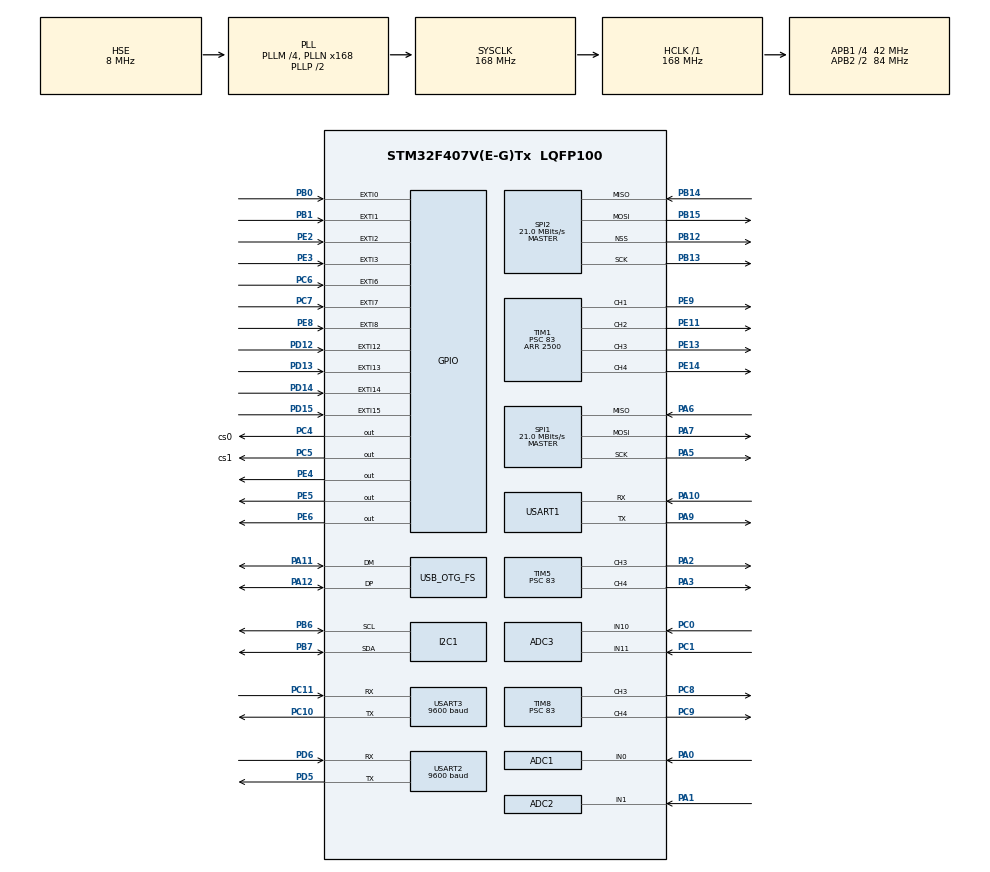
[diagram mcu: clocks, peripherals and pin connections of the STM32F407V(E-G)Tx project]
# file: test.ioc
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ADC1.Channel-0\#ChannelRegularConversion=ADC_CHANNEL_0
ADC1.ClockPrescaler=ADC_CLOCK_SYNC_PCLK_DIV4
ADC1.NbrOfConversionFlag=1
ADC1.Rank-0\#ChannelRegularConversion=1
ADC1.SamplingTime-0\#ChannelRegularConversion=ADC_SAMPLETIME_3CYCLES
ADC1.master=1
ADC2.Channel-0\#ChannelRegularConversion=ADC_CHANNEL_1
ADC2.ClockPrescaler=ADC_CLOCK_SYNC_PCLK_DIV4
ADC2.NbrOfConversionFlag=1
ADC2.Rank-0\#ChannelRegularConversion=1
ADC2.SamplingTime-0\#ChannelRegularConversion=ADC_SAMPLETIME_3CYCLES
ADC3.Channel-0\#ChannelRegularConversion=ADC_CHANNEL_10
ADC3.ClockPrescaler=ADC_CLOCK_SYNC_PCLK_DIV4
ADC3.NbrOfConversionFlag=1
ADC3.Rank-0\#ChannelRegularConversion=1
ADC3.SamplingTime-0\#ChannelRegularConversion=ADC_SAMPLETIME_3CYCLES
Dma.I2C1_RX.5.Direction=DMA_PERIPH_TO_MEMORY
Dma.I2C1_RX.5.FIFOMode=DMA_FIFOMODE_DISABLE
Dma.I2C1_RX.5.Instance=DMA1_Stream0
Dma.I2C1_RX.5.MemDataAlignment=DMA_MDATAALIGN_BYTE
Dma.I2C1_RX.5.MemInc=DMA_MINC_ENABLE
Dma.I2C1_RX.5.Mode=DMA_NORMAL
Dma.I2C1_RX.5.PeriphDataAlignment=DMA_PDATAALIGN_BYTE
Dma.I2C1_RX.5.PeriphInc=DMA_PINC_DISABLE
Dma.I2C1_RX.5.Priority=DMA_PRIORITY_LOW
Dma.I2C1_TX.6.Direction=DMA_MEMORY_TO_PERIPH
Dma.I2C1_TX.6.FIFOMode=DMA_FIFOMODE_DISABLE
Dma.I2C1_TX.6.Instance=DMA1_Stream7
Dma.I2C1_TX.6.MemDataAlignment=DMA_MDATAALIGN_BYTE
Dma.I2C1_TX.6.MemInc=DMA_MINC_ENABLE
Dma.I2C1_TX.6.Mode=DMA_NORMAL
Dma.I2C1_TX.6.PeriphDataAlignment=DMA_PDATAALIGN_BYTE
Dma.I2C1_TX.6.PeriphInc=DMA_PINC_DISABLE
Dma.I2C1_TX.6.Priority=DMA_PRIORITY_LOW
Dma.Request0=USART1_TX
Dma.Request1=SPI2_RX
Dma.Request10=USART1_RX
Dma.Request2=SPI2_TX
Dma.Request3=USART2_RX
Dma.Request4=USART2_TX
Dma.Request5=I2C1_RX
Dma.Request6=I2C1_TX
Dma.Request7=SPI1_RX
Dma.Request8=SPI1_TX
Dma.Request9=USART3_RX
Dma.SPI1_RX.7.Direction=DMA_PERIPH_TO_MEMORY
Dma.SPI1_RX.7.FIFOMode=DMA_FIFOMODE_DISABLE
Dma.SPI1_RX.7.Instance=DMA2_Stream0
Dma.SPI1_RX.7.MemDataAlignment=DMA_MDATAALIGN_BYTE
Dma.SPI1_RX.7.MemInc=DMA_MINC_ENABLE
Dma.SPI1_RX.7.Mode=DMA_NORMAL
Dma.SPI1_RX.7.PeriphDataAlignment=DMA_PDATAALIGN_BYTE
Dma.SPI1_RX.7.PeriphInc=DMA_PINC_DISABLE
Dma.SPI1_RX.7.Priority=DMA_PRIORITY_LOW
Dma.SPI1_TX.8.Direction=DMA_MEMORY_TO_PERIPH
Dma.SPI1_TX.8.FIFOMode=DMA_FIFOMODE_DISABLE
Dma.SPI1_TX.8.Instance=DMA2_Stream3
Dma.SPI1_TX.8.MemDataAlignment=DMA_MDATAALIGN_BYTE
Dma.SPI1_TX.8.MemInc=DMA_MINC_ENABLE
Dma.SPI1_TX.8.Mode=DMA_NORMAL
Dma.SPI1_TX.8.PeriphDataAlignment=DMA_PDATAALIGN_BYTE
Dma.SPI1_TX.8.PeriphInc=DMA_PINC_DISABLE
Dma.SPI1_TX.8.Priority=DMA_PRIORITY_LOW
Dma.SPI2_RX.1.Direction=DMA_PERIPH_TO_MEMORY
Dma.SPI2_RX.1.FIFOMode=DMA_FIFOMODE_DISABLE
Dma.SPI2_RX.1.Instance=DMA1_Stream3
Dma.SPI2_RX.1.MemDataAlignment=DMA_MDATAALIGN_BYTE
Dma.SPI2_RX.1.MemInc=DMA_MINC_ENABLE
Dma.SPI2_RX.1.Mode=DMA_NORMAL
Dma.SPI2_RX.1.PeriphDataAlignment=DMA_PDATAALIGN_BYTE
Dma.SPI2_RX.1.PeriphInc=DMA_PINC_DISABLE
Dma.SPI2_RX.1.Priority=DMA_PRIORITY_LOW
Dma.SPI2_TX.2.Direction=DMA_MEMORY_TO_PERIPH
Dma.SPI2_TX.2.FIFOMode=DMA_FIFOMODE_DISABLE
Dma.SPI2_TX.2.Instance=DMA1_Stream4
Dma.SPI2_TX.2.MemDataAlignment=DMA_MDATAALIGN_BYTE
Dma.SPI2_TX.2.MemInc=DMA_MINC_ENABLE
Dma.SPI2_TX.2.Mode=DMA_NORMAL
Dma.SPI2_TX.2.PeriphDataAlignment=DMA_PDATAALIGN_BYTE
Dma.SPI2_TX.2.PeriphInc=DMA_PINC_DISABLE
Dma.SPI2_TX.2.Priority=DMA_PRIORITY_LOW
Dma.USART1_RX.10.Direction=DMA_PERIPH_TO_MEMORY
Dma.USART1_RX.10.FIFOMode=DMA_FIFOMODE_DISABLE
Dma.USART1_RX.10.Instance=DMA2_Stream2
Dma.USART1_RX.10.MemDataAlignment=DMA_MDATAALIGN_BYTE
Dma.USART1_RX.10.MemInc=DMA_MINC_ENABLE
Dma.USART1_RX.10.Mode=DMA_NORMAL
Dma.USART1_RX.10.PeriphDataAlignment=DMA_PDATAALIGN_BYTE
Dma.USART1_RX.10.PeriphInc=DMA_PINC_DISABLE
Dma.USART1_RX.10.Priority=DMA_PRIORITY_LOW
Dma.USART1_TX.0.Direction=DMA_MEMORY_TO_PERIPH
Dma.USART1_TX.0.FIFOMode=DMA_FIFOMODE_DISABLE
Dma.USART1_TX.0.Instance=DMA2_Stream7
Dma.USART1_TX.0.MemDataAlignment=DMA_MDATAALIGN_BYTE
Dma.USART1_TX.0.MemInc=DMA_MINC_ENABLE
Dma.USART1_TX.0.Mode=DMA_NORMAL
Dma.USART1_TX.0.PeriphDataAlignment=DMA_PDATAALIGN_BYTE
Dma.USART1_TX.0.PeriphInc=DMA_PINC_DISABLE
Dma.USART1_TX.0.Priority=DMA_PRIORITY_LOW
Dma.USART2_RX.3.Direction=DMA_PERIPH_TO_MEMORY
Dma.USART2_RX.3.FIFOMode=DMA_FIFOMODE_DISABLE
Dma.USART2_RX.3.Instance=DMA1_Stream5
Dma.USART2_RX.3.MemDataAlignment=DMA_MDATAALIGN_BYTE
Dma.USART2_RX.3.MemInc=DMA_MINC_ENABLE
Dma.USART2_RX.3.Mode=DMA_NORMAL
Dma.USART2_RX.3.PeriphDataAlignment=DMA_PDATAALIGN_BYTE
Dma.USART2_RX.3.PeriphInc=DMA_PINC_DISABLE
Dma.USART2_RX.3.Priority=DMA_PRIORITY_LOW
Dma.USART2_TX.4.Direction=DMA_MEMORY_TO_PERIPH
Dma.USART2_TX.4.FIFOMode=DMA_FIFOMODE_DISABLE
Dma.USART2_TX.4.Instance=DMA1_Stream6
Dma.USART2_TX.4.MemDataAlignment=DMA_MDATAALIGN_BYTE
Dma.USART2_TX.4.MemInc=DMA_MINC_ENABLE
Dma.USART2_TX.4.Mode=DMA_NORMAL
Dma.USART2_TX.4.PeriphDataAlignment=DMA_PDATAALIGN_BYTE
Dma.USART2_TX.4.PeriphInc=DMA_PINC_DISABLE
Dma.USART2_TX.4.Priority=DMA_PRIORITY_LOW
Dma.USART3_RX.9.Direction=DMA_PERIPH_TO_MEMORY
Dma.USART3_RX.9.FIFOMode=DMA_FIFOMODE_DISABLE
Dma.USART3_RX.9.Instance=DMA1_Stream1
Dma.USART3_RX.9.MemDataAlignment=DMA_MDATAALIGN_BYTE
Dma.USART3_RX.9.MemInc=DMA_MINC_ENABLE
Dma.USART3_RX.9.Mode=DMA_NORMAL
Dma.USART3_RX.9.PeriphDataAlignment=DMA_PDATAALIGN_BYTE
Dma.USART3_RX.9.PeriphInc=DMA_PINC_DISABLE
Dma.USART3_RX.9.Priority=DMA_PRIORITY_LOW
FREERTOS.Tasks01=defaultTask,0,128,StartDefaultTask,Default
FREERTOS.configMAX_PRIORITIES=31
FREERTOS.configTICK_RATE_HZ=200
FREERTOS.configUSE_TIMERS=1
Mcu.Family=STM32F4
Mcu.Name=STM32F407V(E-G)Tx
Mcu.Package=LQFP100
NVIC.DMA1_Stream0_IRQn=true\:5\:0\:false\:false\:true\:true
NVIC.DMA1_Stream1_IRQn=true\:5\:0\:false\:false\:true\:true
NVIC.DMA1_Stream3_IRQn=true\:5\:0\:false\:false\:true\:true
NVIC.DMA1_Stream4_IRQn=true\:5\:0\:false\:false\:true\:true
NVIC.DMA1_Stream5_IRQn=true\:5\:0\:false\:false\:true\:true
NVIC.DMA1_Stream6_IRQn=true\:5\:0\:false\:false\:true\:true
NVIC.DMA1_Stream7_IRQn=true\:5\:0\:false\:false\:true\:true
NVIC.DMA2_Stream0_IRQn=true\:5\:0\:false\:false\:true\:true
NVIC.DMA2_Stream2_IRQn=true\:5\:0\:false\:false\:true\:true
NVIC.DMA2_Stream3_IRQn=true\:5\:0\:false\:false\:true\:true
NVIC.DMA2_Stream7_IRQn=true\:5\:0\:false\:false\:true\:true
NVIC.EXTI0_IRQn=true\:5\:0\:true\:false\:true\:true
NVIC.EXTI15_10_IRQn=true\:5\:0\:false\:false\:true\:true
NVIC.EXTI1_IRQn=true\:5\:0\:false\:false\:true\:true
NVIC.EXTI2_IRQn=true\:5\:0\:false\:false\:true\:true
NVIC.EXTI3_IRQn=true\:5\:0\:false\:false\:true\:true
NVIC.EXTI9_5_IRQn=true\:5\:0\:false\:false\:true\:true
NVIC.OTG_FS_IRQn=true\:5\:0\:false\:false\:true\:true
NVIC.PriorityGroup=NVIC_PRIORITYGROUP_4
NVIC.TIM1_BRK_TIM9_IRQn=true\:5\:0\:false\:false\:true\:true
NVIC.TIM1_CC_IRQn=true\:5\:0\:false\:false\:true\:true
NVIC.TIM2_IRQn=true\:5\:0\:true\:false\:true\:true
NVIC.TIM5_IRQn=true\:5\:0\:false\:false\:true\:true
NVIC.TIM6_DAC_IRQn=true\:5\:0\:false\:false\:true\:true
NVIC.TIM7_IRQn=true\:0\:0\:false\:false\:true\:false
NVIC.TIM8_CC_IRQn=true\:5\:0\:false\:false\:true\:true
NVIC.TimeBase=TIM7_IRQn
NVIC.TimeBaseIP=TIM7
NVIC.USART1_IRQn=true\:5\:0\:false\:false\:true\:true
NVIC.USART2_IRQn=true\:5\:0\:false\:false\:true\:true
NVIC.USART3_IRQn=true\:5\:0\:false\:false\:true\:true
PA0-WKUP.Signal=ADCx_IN0
PA1.Signal=ADCx_IN1
PA10.Mode=Asynchronous
PA10.Signal=USART1_RX
PA11.Mode=Device_Only
PA11.Signal=USB_OTG_FS_DM
PA12.Mode=Device_Only
PA12.Signal=USB_OTG_FS_DP
PA13.Mode=Serial_Wire
PA13.Signal=SYS_JTMS-SWDIO
PA14.Mode=Serial_Wire
PA14.Signal=SYS_JTCK-SWCLK
PA2.Signal=S_TIM5_CH3
PA3.Signal=S_TIM5_CH4
PA5.Mode=Full_Duplex_Master
PA5.Signal=SPI1_SCK
PA6.Mode=Full_Duplex_Master
PA6.Signal=SPI1_MISO
PA7.Mode=Full_Duplex_Master
PA7.Signal=SPI1_MOSI
PA9.Mode=Asynchronous
PA9.Signal=USART1_TX
PB0.GPIO_ModeDefaultEXTI=GPIO_MODE_IT_RISING_FALLING
PB0.Signal=GPXTI0
PB1.GPIO_ModeDefaultEXTI=GPIO_MODE_IT_RISING_FALLING
PB1.Signal=GPXTI1
PB12.Mode=NSS_Signal_Hard_Output
PB12.Signal=SPI2_NSS
PB13.Mode=Full_Duplex_Master
PB13.Signal=SPI2_SCK
PB14.Mode=Full_Duplex_Master
PB14.Signal=SPI2_MISO
PB15.Mode=Full_Duplex_Master
PB15.Signal=SPI2_MOSI
PB6.Mode=I2C
PB6.Signal=I2C1_SCL
PB7.Mode=I2C
PB7.Signal=I2C1_SDA
PC0.Signal=ADCx_IN10
PC1.Signal=ADCx_IN11
PC10.Mode=Asynchronous
PC10.Signal=USART3_TX
PC11.Mode=Asynchronous
PC11.Signal=USART3_RX
PC4.GPIO_Label=cs0
PC4.GPIO_Speed=GPIO_SPEED_FREQ_VERY_HIGH
PC4.Signal=GPIO_Output
PC5.GPIO_Label=cs1
PC5.GPIO_Speed=GPIO_SPEED_FREQ_VERY_HIGH
PC5.Signal=GPIO_Output
PC6.GPIO_ModeDefaultEXTI=GPIO_MODE_IT_RISING_FALLING
PC6.Signal=GPXTI6
PC7.GPIO_ModeDefaultEXTI=GPIO_MODE_IT_RISING_FALLING
PC7.Signal=GPXTI7
PC8.Signal=S_TIM8_CH3
PC9.Signal=S_TIM8_CH4
PD12.GPIO_ModeDefaultEXTI=GPIO_MODE_IT_RISING_FALLING
PD12.Signal=GPXTI12
PD13.GPIO_ModeDefaultEXTI=GPIO_MODE_IT_RISING_FALLING
PD13.Signal=GPXTI13
PD14.GPIO_ModeDefaultEXTI=GPIO_MODE_IT_RISING_FALLING
PD14.Signal=GPXTI14
PD15.GPIO_ModeDefaultEXTI=GPIO_MODE_IT_RISING_FALLING
PD15.Signal=GPXTI15
PD5.Mode=Asynchronous
PD5.Signal=USART2_TX
PD6.Mode=Asynchronous
PD6.Signal=USART2_RX
PE11.Signal=S_TIM1_CH2
PE13.Signal=S_TIM1_CH3
PE14.Signal=S_TIM1_CH4
PE2.GPIO_ModeDefaultEXTI=GPIO_MODE_IT_RISING_FALLING
PE2.Signal=GPXTI2
PE3.GPIO_ModeDefaultEXTI=GPIO_MODE_IT_RISING_FALLING
PE3.Signal=GPXTI3
PE4.Signal=GPIO_Output
PE5.Signal=GPIO_Output
PE6.Signal=GPIO_Output
PE8.GPIO_ModeDefaultEXTI=GPIO_MODE_IT_RISING_FALLING
PE8.Signal=GPXTI8
PE9.Signal=S_TIM1_CH1
PH0-OSC_IN.Mode=HSE-External-Oscillator
PH0-OSC_IN.Signal=RCC_OSC_IN
PH1-OSC_OUT.Mode=HSE-External-Oscillator
PH1-OSC_OUT.Signal=RCC_OSC_OUT
ProjectManager.HeapSize=0x200
ProjectManager.StackSize=0x400
ProjectManager.TargetToolchain=SW4STM32
RCC.48MHZClocksFreq_Value=48000000
RCC.AHBFreq_Value=168000000
RCC.APB1CLKDivider=RCC_HCLK_DIV4
RCC.APB1Freq_Value=42000000
RCC.APB1TimFreq_Value=84000000
RCC.APB2CLKDivider=RCC_HCLK_DIV2
RCC.APB2Freq_Value=84000000
RCC.APB2TimFreq_Value=168000000
RCC.CortexFreq_Value=168000000
RCC.HCLKFreq_Value=168000000
RCC.HSE_VALUE=8000000
RCC.HSI_VALUE=16000000
RCC.LSE_VALUE=32768
RCC.PLLM=4
RCC.PLLN=168
RCC.PLLQ=7
RCC.SYSCLKFreq_VALUE=168000000
RCC.SYSCLKSource=RCC_SYSCLKSOURCE_PLLCLK
RCC.VCOOutputFreq_Value=336000000
SH.ADCx_IN0.0=ADC1_IN0,IN0
SH.ADCx_IN1.0=ADC2_IN1,IN1
SH.ADCx_IN10.0=ADC3_IN10,IN10
SH.ADCx_IN11.0=ADC3_IN11,IN11
SH.S_TIM1_CH1.0=TIM1_CH1,PWM Generation1 CH1
SH.S_TIM1_CH2.0=TIM1_CH2,PWM Generation2 CH2
SH.S_TIM1_CH3.0=TIM1_CH3,PWM Generation3 CH3
SH.S_TIM1_CH4.0=TIM1_CH4,PWM Generation4 CH4
SH.S_TIM5_CH3.0=TIM5_CH3,PWM Generation3 CH3
SH.S_TIM5_CH4.0=TIM5_CH4,PWM Generation4 CH4
SH.S_TIM8_CH3.0=TIM8_CH3,PWM Generation3 CH3
SH.S_TIM8_CH4.0=TIM8_CH4,PWM Generation4 CH4
SPI1.BaudRatePrescaler=SPI_BAUDRATEPRESCALER_4
SPI1.CLKPolarity=SPI_POLARITY_LOW
SPI1.CalculateBaudRate=21.0 MBits/s
SPI1.Mode=SPI_MODE_MASTER
SPI2.CalculateBaudRate=21.0 MBits/s
SPI2.Mode=SPI_MODE_MASTER
SPI2.VirtualNSS=VM_NSSHARD
TIM1.Channel-PWM\ Generation2\ CH2=TIM_CHANNEL_2
TIM1.Channel-PWM\ Generation3\ CH3=TIM_CHANNEL_3
TIM1.Channel-PWM\ Generation4\ CH4=TIM_CHANNEL_4
TIM1.Period=2500
TIM1.Prescaler=83
TIM1.Pulse-PWM\ Generation1\ CH1=1000
TIM1.Pulse-PWM\ Generation2\ CH2=1000
TIM1.Pulse-PWM\ Generation3\ CH3=1000
TIM1.Pulse-PWM\ Generation4\ CH4=1000
TIM2.Channel-Output\ Compare2\ No\ Output=TIM_CHANNEL_2
TIM2.Channel-Output\ Compare3\ No\ Output=TIM_CHANNEL_3
TIM2.Channel-Output\ Compare4\ No\ Output=TIM_CHANNEL_4
TIM2.Period=0xffffffff
TIM2.Prescaler=83
TIM2.Pulse-Output\ Compare1\ No\ Output=500
TIM2.Pulse-Output\ Compare2\ No\ Output=1000
TIM2.Pulse-Output\ Compare3\ No\ Output=2000
TIM2.Pulse-Output\ Compare4\ No\ Output=20000
TIM5.Channel-PWM\ Generation3\ CH3=TIM_CHANNEL_3
TIM5.Channel-PWM\ Generation4\ CH4=TIM_CHANNEL_4
TIM5.Period=2500
TIM5.Prescaler=83
TIM5.Pulse-PWM\ Generation3\ CH3=1000
TIM5.Pulse-PWM\ Generation4\ CH4=1000
TIM6.Period=500
TIM6.Prescaler=83
TIM8.Channel-PWM\ Generation3\ CH3=TIM_CHANNEL_3
TIM8.Channel-PWM\ Generation4\ CH4=TIM_CHANNEL_4
TIM8.Period=2500
TIM8.Prescaler=83
TIM8.Pulse-PWM\ Generation3\ CH3=1000
TIM8.Pulse-PWM\ Generation4\ CH4=1000
USART2.BaudRate=9600
USART3.BaudRate=9600
USB_DEVICE.CLASS_NAME-CDC_FS=CDC
USB_DEVICE.CLASS_NAME_FS=CDC
USB_DEVICE.MANUFACTURER_STRING-CDC_FS=liangzhu studio
USB_DEVICE.PRODUCT_STRING_CDC_FS=Flight_Controller
USB_DEVICE.USBD_HandleTypeDef-CDC_FS=hUsbDeviceFS
USB_DEVICE.VirtualMode-CDC_FS=Cdc
USB_DEVICE.VirtualModeFS=Cdc_FS
USB_OTG_FS.VirtualMode=Device_Only
VP_FREERTOS_VS_ENABLE.Mode=Enabled
VP_SYS_VS_tim7.Mode=TIM7
VP_TIM1_VS_ClockSourceINT.Mode=Internal
VP_TIM2_VS_ClockSourceINT.Mode=Internal
VP_TIM2_VS_no_output1.Mode=Output Compare1 No Output
VP_TIM2_VS_no_output2.Mode=Output Compare2 No Output
VP_TIM2_VS_no_output3.Mode=Output Compare3 No Output
VP_TIM2_VS_no_output4.Mode=Output Compare4 No Output
VP_TIM5_VS_ClockSourceINT.Mode=Internal
VP_TIM6_VS_ClockSourceINT.Mode=Enable_Timer
VP_TIM8_VS_ClockSourceINT.Mode=Internal
VP_USB_DEVICE_VS_USB_DEVICE_CDC_FS.Mode=CDC_FS
board=test

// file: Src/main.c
/**
  ******************************************************************************
  * File Name          : main.c
  * Description        : Main program body
  ******************************************************************************
  *
  * Copyright (c) 2016 STMicroelectronics International N.V.
  * All rights reserved.
  *
  * Redistribution and use in source and binary forms, with or without
  * modification, are permitted, provided that the following conditions are met:
  *
  * 1. Redistribution of source code must retain the above copyright notice,
  *    this list of conditions and the following disclaimer.
  * 2. Redistributions in binary form must reproduce the above copyright notice,
  *    this list of conditions and the following disclaimer in the documentation
  *    and/or other materials provided with the distribution.
  * 3. Neither the name of STMicroelectronics nor the names of other
  *    contributors to this software may be used to endorse or promote products
  *    derived from this software without specific written permission.
  * 4. This software, including modifications and/or derivative works of this
  *    software, must execute solely and exclusively on microcontroller or
  *    microprocessor devices manufactured by or for STMicroelectronics.
  * 5. Redistribution and use of this software other than as permitted under
  *    this license is void and will automatically terminate your rights under
  *    this license.
  *
  * THIS SOFTWARE IS PROVIDED BY STMICROELECTRONICS AND CONTRIBUTORS "AS IS"
  * AND ANY EXPRESS, IMPLIED OR STATUTORY WARRANTIES, INCLUDING, BUT NOT
  * LIMITED TO, THE IMPLIED WARRANTIES OF MERCHANTABILITY, FITNESS FOR A
  * PARTICULAR PURPOSE AND NON-INFRINGEMENT OF THIRD PARTY INTELLECTUAL PROPERTY
  * RIGHTS ARE DISCLAIMED TO THE FULLEST EXTENT PERMITTED BY LAW. IN NO EVENT
  * SHALL STMICROELECTRONICS OR CONTRIBUTORS BE LIABLE FOR ANY DIRECT, INDIRECT,
  * INCIDENTAL, SPECIAL, EXEMPLARY, OR CONSEQUENTIAL DAMAGES (INCLUDING, BUT NOT
  * LIMITED TO, PROCUREMENT OF SUBSTITUTE GOODS OR SERVICES; LOSS OF USE, DATA,
  * OR PROFITS; OR BUSINESS INTERRUPTION) HOWEVER CAUSED AND ON ANY THEORY OF
  * LIABILITY, WHETHER IN CONTRACT, STRICT LIABILITY, OR TORT (INCLUDING
  * NEGLIGENCE OR OTHERWISE) ARISING IN ANY WAY OUT OF THE USE OF THIS SOFTWARE,
  * EVEN IF ADVISED OF THE POSSIBILITY OF SUCH DAMAGE.
  *
  ******************************************************************************
  */
#include "main.h"
#include "stm32f4xx_hal.h"
#include "cmsis_os.h"
#include "adc.h"
#include "dma.h"
#include "i2c.h"
#include "spi.h"
#include "tim.h"
#include "usart.h"
#include "usb_device.h"
#include "gpio.h"

/* USER CODE BEGIN Includes */
#include "semphr.h"
#include "ahrs.h"
#include "esc.h"
#include "ppm_capure.h"

/* USER CODE END Includes */

/* USER CODE BEGIN PV */
/* Private variables ---------------------------------------------------------*/

/* USER CODE END PV */

void SystemClock_Config(void);
void Error_Handler(void);
void MX_FREERTOS_Init(void);

/* USER CODE BEGIN PFP */
/* Private function prototypes -----------------------------------------------*/

/* USER CODE END PFP */

/* USER CODE BEGIN 0 */

HAL_TIM_OC_DelayElapsedCallback(TIM_HandleTypeDef *htim)
{
    if(htim->Instance==TIM8)
    {
        Esc_Callback_TIM8(htim);
    }
    if(htim->Instance==TIM5)
    {
        Esc_Callback_TIM5(htim);
    }
    if(htim->Instance == TIM1)
    {
        Esc_Callback_TIM1(htim);
    }
    static  BaseType_t TaskWoken=pdTRUE;
    if(htim->Instance==TIM2)
    {
        if(htim->Channel==HAL_TIM_ACTIVE_CHANNEL_1)// 2000 hz
        {
         uint32_t delay_new = __HAL_TIM_GET_COMPARE(&htim2, TIM_CHANNEL_1);
          __HAL_TIM_SET_COMPARE(&htim2, TIM_CHANNEL_1, delay_new + 500);
//   xSemaphoreGiveFromISR(ahrs_sem,&TaskWoken);
        }
        if(htim->Channel==HAL_TIM_ACTIVE_CHANNEL_2)// 1000 hz
        {
         uint32_t delay_new = __HAL_TIM_GET_COMPARE(&htim2, TIM_CHANNEL_2);
          __HAL_TIM_SET_COMPARE(&htim2, TIM_CHANNEL_2, delay_new + 1000);

        }
        if(htim->Channel==HAL_TIM_ACTIVE_CHANNEL_3)// 500 hz
        {
         uint32_t delay_new = __HAL_TIM_GET_COMPARE(&htim2, TIM_CHANNEL_3);
          __HAL_TIM_SET_COMPARE(&htim2, TIM_CHANNEL_3, delay_new + 2000);
         // user task woken
          xSemaphoreGiveFromISR(ahrs_sem,&TaskWoken);

        }
        if(htim->Channel==HAL_TIM_ACTIVE_CHANNEL_4)// 50 hz
        {
         uint32_t delay_new = __HAL_TIM_GET_COMPARE(&htim2, TIM_CHANNEL_4);
          __HAL_TIM_SET_COMPARE(&htim2, TIM_CHANNEL_4, delay_new + 500000);
         HAL_GPIO_TogglePin(GPIOE,GPIO_PIN_4);
         ahrs_count_sec=ahrs_count;
         ahrs_count=0;
         gyro_count_sec=gyro_count;
         gyro_count=0;
        }
        portYIELD_FROM_ISR(TaskWoken );
    }
}

/* USER CODE END 0 */

int main(void)
{

  /* MCU Configuration----------------------------------------------------------*/

  /* Reset of all peripherals, Initializes the Flash interface and the Systick. */
  HAL_Init();

  /* Configure the system clock */
  SystemClock_Config();

  /* Initialize all configured peripherals */
  MX_GPIO_Init();
  MX_DMA_Init();
  MX_ADC1_Init();
  MX_ADC2_Init();
  MX_ADC3_Init();
  MX_SPI1_Init();
  MX_SPI2_Init();
  MX_TIM1_Init();
  MX_TIM5_Init();
  MX_TIM8_Init();
  MX_USART1_UART_Init();
  MX_USART2_UART_Init();
  MX_USART3_UART_Init();
  MX_I2C1_Init();
  MX_TIM2_Init();
  MX_TIM6_Init();

  /* USER CODE BEGIN 2 */
  InitAttitudePid();
  Motor_Setup();
  printf("**** Hardware init finish ****");
  /* USER CODE END 2 */

  /* Call init function for freertos objects (in freertos.c) */
  MX_FREERTOS_Init();

  /* Start scheduler */
  osKernelStart();

  /* We should never get here as control is now taken by the scheduler */

  /* Infinite loop */
  while (1)
  {

  }

}

/** System Clock Configuration
*/
void SystemClock_Config(void)
{

  RCC_OscInitTypeDef RCC_OscInitStruct;
  RCC_ClkInitTypeDef RCC_ClkInitStruct;

    /**Configure the main internal regulator output voltage
    */
  __HAL_RCC_PWR_CLK_ENABLE();

  __HAL_PWR_VOLTAGESCALING_CONFIG(PWR_REGULATOR_VOLTAGE_SCALE1);

    /**Initializes the CPU, AHB and APB busses clocks
    */
  RCC_OscInitStruct.OscillatorType = RCC_OSCILLATORTYPE_HSE;
  RCC_OscInitStruct.HSEState = RCC_HSE_ON;
  RCC_OscInitStruct.PLL.PLLState = RCC_PLL_ON;
  RCC_OscInitStruct.PLL.PLLSource = RCC_PLLSOURCE_HSE;
  RCC_OscInitStruct.PLL.PLLM = 4;
  RCC_OscInitStruct.PLL.PLLN = 168;
  RCC_OscInitStruct.PLL.PLLP = RCC_PLLP_DIV2;
  RCC_OscInitStruct.PLL.PLLQ = 7;
  if (HAL_RCC_OscConfig(&RCC_OscInitStruct) != HAL_OK)
  {
    Error_Handler();
  }

    /**Initializes the CPU, AHB and APB busses clocks
    */
  RCC_ClkInitStruct.ClockType = RCC_CLOCKTYPE_HCLK|RCC_CLOCKTYPE_SYSCLK
                              |RCC_CLOCKTYPE_PCLK1|RCC_CLOCKTYPE_PCLK2;
  RCC_ClkInitStruct.SYSCLKSource = RCC_SYSCLKSOURCE_PLLCLK;
  RCC_ClkInitStruct.AHBCLKDivider = RCC_SYSCLK_DIV1;
  RCC_ClkInitStruct.APB1CLKDivider = RCC_HCLK_DIV4;
  RCC_ClkInitStruct.APB2CLKDivider = RCC_HCLK_DIV2;

  if (HAL_RCC_ClockConfig(&RCC_ClkInitStruct, FLASH_LATENCY_5) != HAL_OK)
  {
    Error_Handler();
  }

    /**Configure the Systick interrupt time
    */
  HAL_SYSTICK_Config(HAL_RCC_GetHCLKFreq()/1000);

    /**Configure the Systick
    */
  HAL_SYSTICK_CLKSourceConfig(SYSTICK_CLKSOURCE_HCLK);

  /* SysTick_IRQn interrupt configuration */
  HAL_NVIC_SetPriority(SysTick_IRQn, 15, 0);
}

void HAL_TIM_PeriodElapsedCallback(TIM_HandleTypeDef *htim)
{
/* USER CODE BEGIN Callback 0 */
//    static BaseType_t TaskWoken;
//    TaskWoken = pdTRUE;
       static  BaseType_t TaskWoken=pdTRUE;

    if(htim->Instance==TIM9) // clock for attitude esmation  500hz
    {
//       xSemaphoreGiveFromISR(ahrs_sem,&TaskWoken);
//       portYIELD_FROM_ISR( TaskWoken );// run context switch
    }

/* USER CODE END Callback 0 */
  if (htim->Instance == TIM7) {
    HAL_IncTick();
  }
/* USER CODE BEGIN Callback 1 */
   if(htim->Instance == TIM5)
   {

   }
   if(htim->Instance == TIM8)
   {

   }
   if(htim->Instance == TIM6)
   {
       // user task woken
//      xSemaphoreGiveFromISR(ahrs_sem,&TaskWoken);
   }

//    portYIELD_FROM_ISR(TaskWoken );
/* USER CODE END Callback 1 */
}

void Error_Handler(void)
{
  /* USER CODE BEGIN Error_Handler */
  /* User can add his own implementation to report the HAL error return state */
  while(1)
  {
      HAL_GPIO_WritePin(GPIOE,GPIO_PIN_4,GPIO_PIN_SET);
      HAL_Delay(50);
      HAL_GPIO_WritePin(GPIOE,GPIO_PIN_4,GPIO_PIN_RESET);
      HAL_Delay(50);
  }
  /* USER CODE END Error_Handler */
}

/************************ (C) COPYRIGHT STMicroelectronics *****END OF FILE****/

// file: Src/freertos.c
/**
  ******************************************************************************
  * File Name          : freertos.c
  * Description        : Code for freertos applications
  ******************************************************************************
  *
  * Copyright (c) 2016 STMicroelectronics International N.V.
  * All rights reserved.
  *
  * Redistribution and use in source and binary forms, with or without
  * modification, are permitted, provided that the following conditions are met:
  *
  * 1. Redistribution of source code must retain the above copyright notice,
  *    this list of conditions and the following disclaimer.
  * 2. Redistributions in binary form must reproduce the above copyright notice,
  *    this list of conditions and the following disclaimer in the documentation
  *    and/or other materials provided with the distribution.
  * 3. Neither the name of STMicroelectronics nor the names of other
  *    contributors to this software may be used to endorse or promote products
  *    derived from this software without specific written permission.
  * 4. This software, including modifications and/or derivative works of this
  *    software, must execute solely and exclusively on microcontroller or
  *    microprocessor devices manufactured by or for STMicroelectronics.
  * 5. Redistribution and use of this software other than as permitted under
  *    this license is void and will automatically terminate your rights under
  *    this license.
  *
  * THIS SOFTWARE IS PROVIDED BY STMICROELECTRONICS AND CONTRIBUTORS "AS IS"
  * AND ANY EXPRESS, IMPLIED OR STATUTORY WARRANTIES, INCLUDING, BUT NOT
  * LIMITED TO, THE IMPLIED WARRANTIES OF MERCHANTABILITY, FITNESS FOR A
  * PARTICULAR PURPOSE AND NON-INFRINGEMENT OF THIRD PARTY INTELLECTUAL PROPERTY
  * RIGHTS ARE DISCLAIMED TO THE FULLEST EXTENT PERMITTED BY LAW. IN NO EVENT
  * SHALL STMICROELECTRONICS OR CONTRIBUTORS BE LIABLE FOR ANY DIRECT, INDIRECT,
  * INCIDENTAL, SPECIAL, EXEMPLARY, OR CONSEQUENTIAL DAMAGES (INCLUDING, BUT NOT
  * LIMITED TO, PROCUREMENT OF SUBSTITUTE GOODS OR SERVICES; LOSS OF USE, DATA,
  * OR PROFITS; OR BUSINESS INTERRUPTION) HOWEVER CAUSED AND ON ANY THEORY OF
  * LIABILITY, WHETHER IN CONTRACT, STRICT LIABILITY, OR TORT (INCLUDING
  * NEGLIGENCE OR OTHERWISE) ARISING IN ANY WAY OUT OF THE USE OF THIS SOFTWARE,
  * EVEN IF ADVISED OF THE POSSIBILITY OF SUCH DAMAGE.
  *
  ******************************************************************************
  */

#include "FreeRTOS.h"
#include "task.h"
#include "cmsis_os.h"

/* USER CODE BEGIN Includes */

#include "gpio.h"
#include "spi.h"
#include "mpu9250.h"
#include "mavlink.h"
#include "ahrs.h"
#include "semphr.h"
#include "tim.h"
#include "mavlink_user.h"
#include <auto_mode.h>

//#include "mavlink_user.h"

/* USER CODE END Includes */

osThreadId defaultTaskHandle;

/* USER CODE BEGIN Variables */

BaseType_t LED_Blinky_t;
TaskHandle_t LED_Blinky_handle=NULL;

BaseType_t InitHardware;
TaskHandle_t InitHardware_handle=NULL;
/* USER CODE END Variables */

void StartDefaultTask(void const * argument);

extern void MX_USB_DEVICE_Init(void);
void MX_FREERTOS_Init(void); /* (MISRA C 2004 rule 8.1) */

/* USER CODE BEGIN FunctionPrototypes */

void LED_Blinky(void* p);//on board led blinky
void Init_Hardware(void *p);//setup hardware

/* USER CODE END FunctionPrototypes */

/* Hook prototypes */

/* Init FreeRTOS */

void MX_FREERTOS_Init(void) {
  /* USER CODE BEGIN Init */
    AhrsTaskCreate();         //creater task of attitude e
    mpu9250_task_create();
    UltraSonicTaskCreate();
    automode_init();

  /* USER CODE END Init */

  /* Create the thread(s) */
  /* definition and creation of defaultTask */
  osThreadDef(defaultTask, StartDefaultTask, osPriorityNormal, 0, 128);
  defaultTaskHandle = osThreadCreate(osThread(defaultTask), NULL);

  /* USER CODE BEGIN RTOS_THREADS */
  /* add threads, ... */

  LED_Blinky_t=xTaskCreate(LED_Blinky,
              "led_blinky",
              512,
              (void*)1 ,
              5,
              &LED_Blinky_handle
              );
  if(LED_Blinky_t =!pdPASS)
  {
      vTaskDelete(LED_Blinky_handle);
  }

  LED_Blinky_t=xTaskCreate(Init_Hardware,
              "init hardware",
              512,
              (void*)1 ,
              20,
              &InitHardware_handle
              );
  if(LED_Blinky_t =!pdPASS)
  {
      vTaskDelete(LED_Blinky_handle);
  }

  /* USER CODE END RTOS_THREADS */

}

/* StartDefaultTask function */
void StartDefaultTask(void const * argument)
{
  /* init code for USB_DEVICE */
  MX_USB_DEVICE_Init();

  for(;;)
  {
  }
}

/* USER CODE BEGIN Application */
void Init_Hardware(void *p)
{
  /* */

    __HAL_TIM_SET_COUNTER ( &htim2, 0);
    HAL_TIM_OC_Start_IT(&htim2, TIM_CHANNEL_1);
    HAL_TIM_OC_Start_IT(&htim2, TIM_CHANNEL_2);
    HAL_TIM_OC_Start_IT(&htim2, TIM_CHANNEL_3);
    HAL_TIM_OC_Start_IT(&htim2, TIM_CHANNEL_4);

    HAL_TIM_Base_Start_IT(&htim6); //2khz event

    HAL_Delay(50);
    InitMpu9250();

    Gyro.offset.x=-0.913154;
    Gyro.offset.y=-0.004481;
    Gyro.offset.z=0.343141;

    Gyro.offset.x=0;
    Gyro.offset.y=0;
    Gyro.offset.z=0;
    HAL_Delay(6000);

    for(int a=1;a<=500;a++)
    {
    ReadMpuAllBloack();
    Gyro.offset.x+=(float)Gyro.x;
    Gyro.offset.y+=(float)Gyro.y;
    Gyro.offset.z+=(float)Gyro.z;
    HAL_Delay(2);
    }

    Gyro.offset.x/=500;
    Gyro.offset.y/=500;
    Gyro.offset.z/=500;

 /*   AhrsTaskCreate();         //creater task of attitude e
    mpu9250_task_create();*/

    vTaskDelete(NULL);

}

void LED_Blinky(void* p)
{

    while(1)
    {

         HAL_GPIO_TogglePin(GPIOE,GPIO_PIN_5);
//         if(1==mpu_read_who_am_i())
//         {
           HAL_GPIO_TogglePin(GPIOE,GPIO_PIN_6);
//         }

       static TimeCounter_t t;
       TimeCounter(&t,1);
       vTaskDelay(100);
       TimeCounter(&t,2);
//        HAL_GPIO_ReadPin(GPIOA,GPIO_PIN_0);

       heartbeat();  //mavlink

    }
}

void vApplicationStackOverflowHook(TaskHandle_t xTask,
                                   signed char *pcTaskName)
{
    while(1)
    {
        HAL_GPIO_WritePin(GPIOE,GPIO_PIN_4,RESET);
        HAL_GPIO_WritePin(GPIOE,GPIO_PIN_5,RESET);
        HAL_Delay(100);
        HAL_GPIO_TogglePin(GPIOE,GPIO_PIN_6);
    }
}

/* USER CODE END Application */

/************************ (C) COPYRIGHT STMicroelectronics *****END OF FILE****/
